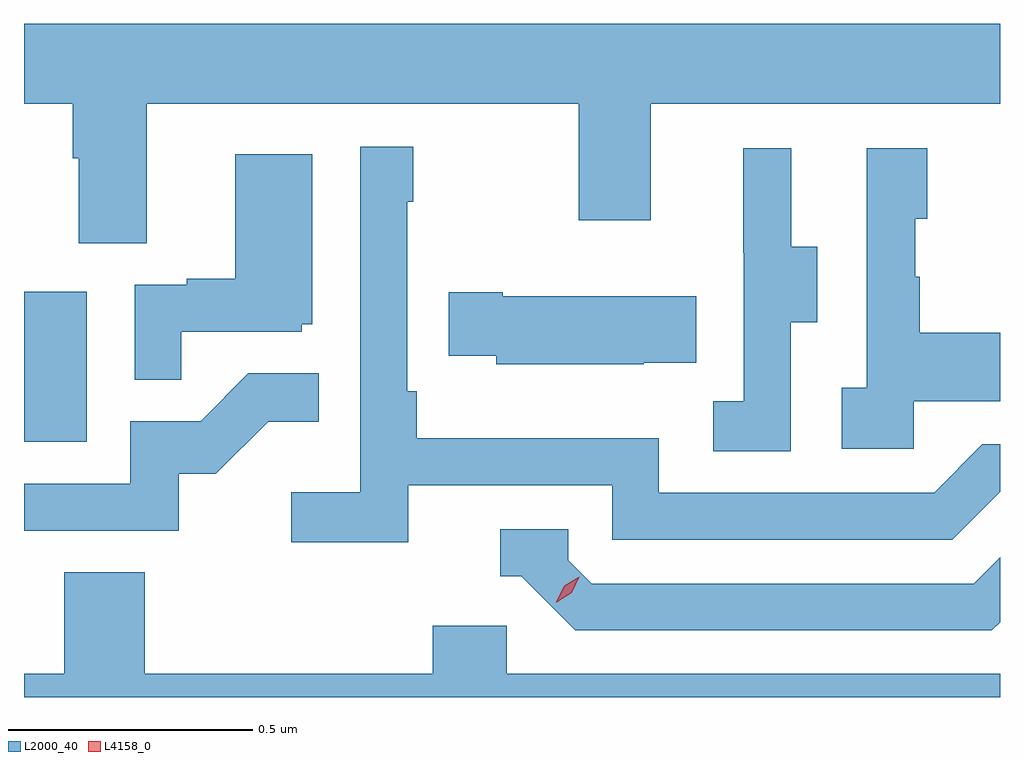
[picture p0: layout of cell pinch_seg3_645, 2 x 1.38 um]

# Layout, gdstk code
import gdstk
lib = gdstk.Library(unit=1e-6, precision=1e-09)
def R(c, l, rs):  # rectangles x0, y0, x1, y1
    for r in rs: c.add(gdstk.rectangle(r[:2], r[2:], *l))
def P(c, l, *ps):  # polygons
    for p in ps: c.add(gdstk.Polygon(p, *l))
L2000_40 = (2000, 40)
L4158_0 = (4158, 0)

pinch_seg3_645 = lib.new_cell('pinch_seg3_645')
R(pinch_seg3_645, L2000_40, [(1037.815,666.924,1037.944,667.231)])
P(pinch_seg3_645, L2000_40, [(1038.067,667.616),(1038.952,667.616),(1038.952,667.377),(1039.099,667.377),(1039.099,667.616),(1039.815,667.616),(1039.815,667.78),(1037.815,667.78),(1037.815,667.616),(1037.915,667.616),(1037.915,667.504),(1037.927,667.504),(1037.927,667.33),(1038.067,667.33)],
  [(1038.602,666.834),(1039.02,666.834),(1039.02,666.723),(1039.717,666.723),(1039.815,666.821),(1039.815,666.918),(1039.779,666.918),(1039.68,666.819),(1039.116,666.819),(1039.116,666.931),(1038.62,666.931),(1038.62,667.027),(1038.6,667.027),(1038.6,667.415),(1038.613,667.415),(1038.613,667.528),(1038.504,667.528),(1038.504,666.82),(1038.363,666.82),(1038.363,666.718),(1038.602,666.718)],
  [(1039.638,667.007),(1039.815,667.007),(1039.815,667.147),(1039.651,667.147),(1039.651,667.262),(1039.641,667.262),(1039.641,667.38),(1039.666,667.38),(1039.666,667.525),(1039.542,667.525),(1039.542,667.034),(1039.491,667.034),(1039.491,666.909),(1039.638,666.909)],
  [(1039.386,667.168),(1039.441,667.168),(1039.441,667.323),(1039.387,667.323),(1039.387,667.525),(1039.289,667.525),(1039.289,667.311),(1039.29,667.311),(1039.29,667.007),(1039.227,667.007),(1039.227,666.904),(1039.386,666.904)],
  [(1038.137,667.149),(1038.384,667.149),(1038.384,667.164),(1038.406,667.164),(1038.406,667.513),(1038.248,667.513),(1038.248,667.258),(1038.149,667.258),(1038.149,667.245),(1038.042,667.245),(1038.042,667.051),(1038.137,667.051)],
  [(1039.085,667.085),(1039.193,667.085),(1039.193,667.222),(1038.796,667.222),(1038.796,667.23),(1038.685,667.23),(1038.685,667.1),(1038.783,667.1),(1038.783,667.082),(1039.085,667.082)],
  [(1038.132,666.858),(1038.208,666.858),(1038.315,666.965),(1038.419,666.965),(1038.419,667.064),(1038.275,667.064),(1038.177,666.966),(1038.033,666.966),(1038.033,666.837),(1037.815,666.837),(1037.815,666.741),(1038.132,666.741)],
  [(1039.815,666.554),(1039.815,666.687),(1039.761,666.633),(1038.978,666.633),(1038.93,666.681),(1038.93,666.744),(1038.791,666.744),(1038.791,666.648),(1038.834,666.648),(1038.945,666.537),(1039.798,666.537)],
  [(1039.815,666.448),(1038.804,666.448),(1038.804,666.546),(1038.653,666.546),(1038.653,666.448),(1038.062,666.448),(1038.062,666.656),(1037.897,666.656),(1037.897,666.448),(1037.815,666.448),(1037.815,666.4),(1039.815,666.4)])
P(pinch_seg3_645, L4158_0, [(1038.906,666.595),(1038.906,666.595),(1038.922,666.628),(1038.953,666.647),(1038.953,666.647),(1038.953,666.647),(1038.937,666.614),(1038.907,666.595)])

lib.write_gds('pinch_seg3_645.gds')
